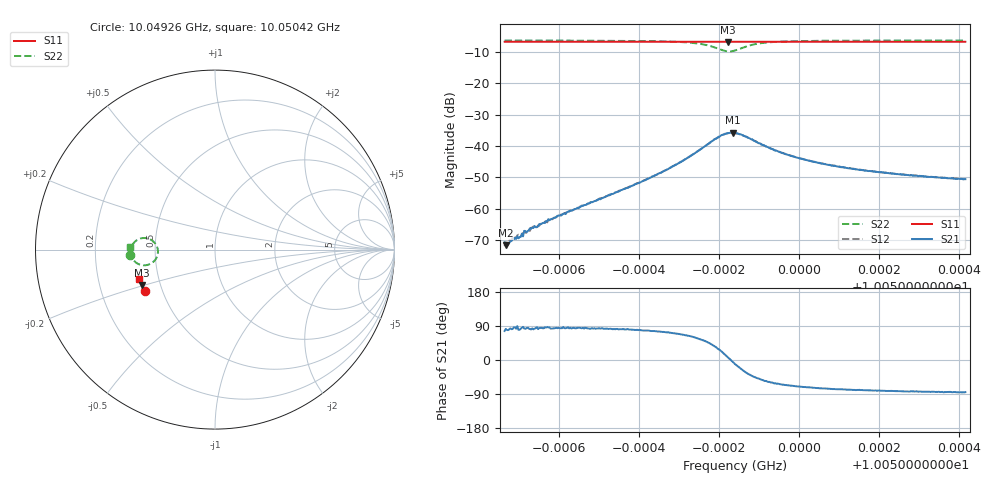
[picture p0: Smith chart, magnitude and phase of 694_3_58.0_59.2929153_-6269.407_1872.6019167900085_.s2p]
#  HZ  S  RI  R  50.00
! Rohde & Schwarz Vector Network Analyzer
! Rohde-Schwarz,ZNB20-2Port,1311601062101988,3.16
! Created: UTC 3/21/2024, 1:21:24 AM
! freq[Hz]  re:S11  im:S11  re:S21  im:S21  re:S12  im:S12  re:S22  im:S22
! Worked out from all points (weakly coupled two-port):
!   401 points, 10.04926 GHz to 10.05042 GHz, reference 50 ohm
!   highest |S21| = -35.74 dB at 10.04983 GHz (marker M1); lowest = -71.5 dB at 10.04927 GHz (marker M2)
!   lowest |S11| = -6.9 dB at 10.04982 GHz (marker M3), VSWR 2.65, Z = 19.8 - j9.88 ohm
!   |S11| at or under -10 dB: nowhere
!   |S22| runs from -10.0 to -6.5 dB; largest |S21 - S12| = 0.0012
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1.0049264e10  -0.3905 -0.2323  6.8e-05 0.000286  5.12e-05 0.000251  -0.4737 -0.0298
1.0049267e10  -0.3906 -0.2321  3.76e-05 0.000264  2e-05 0.000294  -0.4739 -0.0294
1.0049278e10  -0.3909 -0.2315  3.41e-05 0.000302  4.58e-05 0.000319  -0.4738 -0.0283
1.004929e10  -0.3912 -0.2307  2.35e-05 0.000347  5.85e-05 0.000346  -0.4739 -0.0273
1.0049304e10  -0.3918 -0.23  4.68e-05 0.000357  1.06e-05 0.000373  -0.4737 -0.0258
1.0049319e10  -0.3923 -0.2292  4.71e-05 0.000422  2.48e-05 0.00042  -0.4736 -0.0245
1.0049336e10  -0.3928 -0.2282  7.89e-05 0.000493  2.26e-05 0.000528  -0.4736 -0.0227
1.0049457e10  -0.3965 -0.2209  0.000122 0.00111  5.11e-05 0.00113  -0.4724 -0.00918
1.004965e10  -0.4021 -0.2094  0.000932 0.00356  0.000715 0.00359  -0.4607 0.0259
1.0049704e10  -0.4037 -0.2059  0.00213 0.00517  0.00181 0.00531  -0.4466 0.0437
1.0049776e10  -0.405 -0.2014  0.00806 0.00782  0.00766 0.00821  -0.3847 0.0642
1.0049802e10  -0.4053 -0.1998  0.0128 0.00623  0.0126 0.00683  -0.3407 0.043
1.0049822e10  -0.4054 -0.199  0.016 0.00184  0.0157 0.00276  -0.3184 -0.00146
1.0049834e10  -0.4057 -0.1987  0.0163 -0.00136  0.0161 -0.000279  -0.3207 -0.0321
1.004984e10  -0.4058 -0.1985  0.0158 -0.003  0.0159 -0.00179  -0.3262 -0.0459
1.0049868e10  -0.407 -0.1974  0.0116 -0.00787  0.012 -0.00691  -0.3741 -0.085
1.0049909e10  -0.4085 -0.195  0.00627 -0.00826  0.00675 -0.00799  -0.4261 -0.0805
1.0049966e10  -0.4104 -0.1915  0.00301 -0.00677  0.00348 -0.00661  -0.4554 -0.0574
1.0050032e10  -0.4124 -0.1874  0.00169 -0.00542  0.00199 -0.00536  -0.4667 -0.0379
1.0050136e10  -0.4151 -0.1811  0.000832 -0.00424  0.00109 -0.00423  -0.4725 -0.0183
1.0050225e10  -0.4173 -0.1756  0.00053 -0.00365  0.000748 -0.00364  -0.4742 -0.00609
1.0050415e10  -0.4216 -0.164  0.000268 -0.00296  0.000408 -0.00299  -0.4751 0.0134
